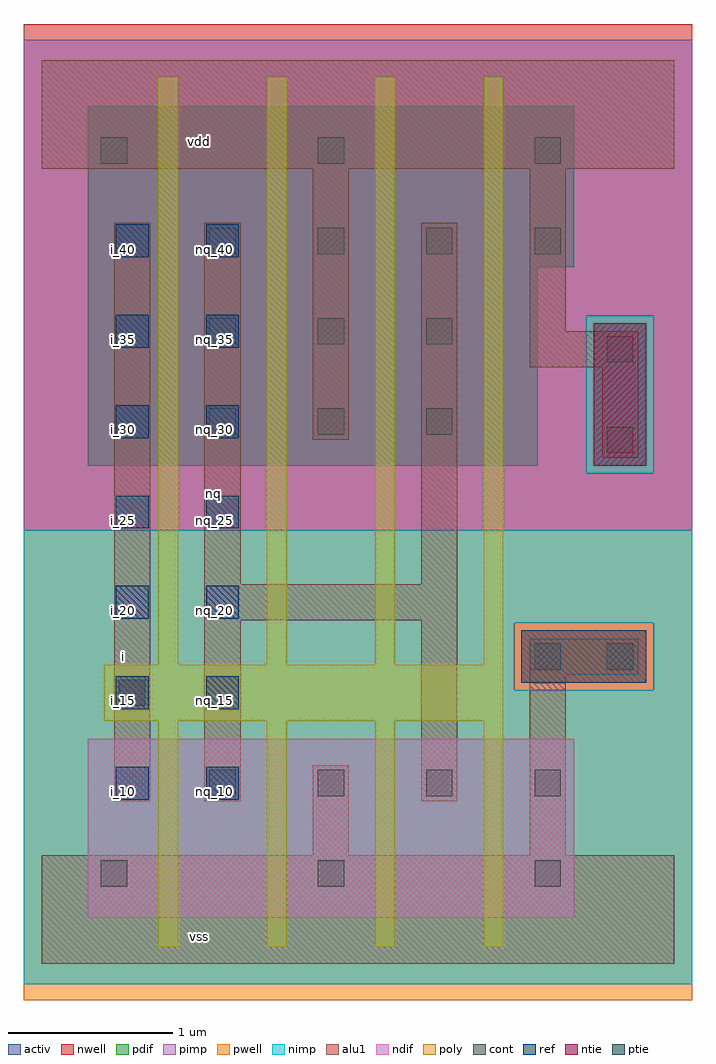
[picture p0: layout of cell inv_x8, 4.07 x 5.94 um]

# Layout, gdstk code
import gdstk
lib = gdstk.Library(unit=1e-6, precision=2.5e-09)
def R(c, l, rs):  # rectangles x0, y0, x1, y1
    for r in rs: c.add(gdstk.rectangle(r[:2], r[2:], *l))
def A(c, l, x, y, w, h, nx, ny, dx, dy):  # array of equal rectangles
    R(c, l, [(x+i*dx, y+j*dy, x+i*dx+w, y+j*dy+h) for i in range(nx) for j in range(ny)])
ndif = (3, 0)
pdif = (4, 0)
ntie = (5, 0)
ptie = (6, 0)
ref = (24, 0)
cont = (25, 0)
pwell = (41, 0)
nwell = (42, 0)
activ = (43, 0)
pimp = (44, 0)
nimp = (45, 0)
poly = (46, 0)
alu1 = (49, 0)

inv_x8 = lib.new_cell('inv_x8')
R(inv_x8, ndif, [(0.28,0.28,3.24,1.37), (0.28,0.28,3.24,1.37)])
R(inv_x8, pdif, [(0.28,3.03,3.02,4.24), (0.28,3.03,3.02,4.24), (0.28,4.24,3.24,5.22), (0.28,4.24,3.24,5.22)])
R(inv_x8, ntie, [(3.36,3.03,3.68,3.9), (3.36,3.03,3.68,3.9)])
R(inv_x8, ptie, [(2.92,1.71,3.68,2.03), (2.92,1.71,3.68,2.03)])
A(inv_x8, ref, 0.45, 1, 0.2, 0.2, 1, 7, 0, 0.55)
A(inv_x8, ref, 1, 1, 0.2, 0.2, 1, 7, 0, 0.55)
A(inv_x8, cont, 0.36, 0.47, 0.16, 0.16, 3, 2, 1.32, 4.4)
A(inv_x8, cont, 1.02, 1.02, 0.16, 0.16, 4, 2, 0.66, 3.3)
A(inv_x8, cont, 1.02, 3.22, 0.16, 0.16, 3, 2, 0.66, 0.55)
R(inv_x8, cont, [(0.47,1.57,0.63,1.73), (3,1.79,3.16,1.95), (3.44,1.79,3.6,1.95), (3.44,3.11,3.6,3.27), (3.44,3.66,3.6,3.82)])
R(inv_x8, pwell, [(-0.11,-0.22,3.96,2.64)])
R(inv_x8, nwell, [(-0.11,2.64,3.96,5.72)])
R(inv_x8, activ, [(0.28,0.28,3.24,1.37), (0.28,0.28,3.24,1.37), (2.92,1.71,3.68,2.03), (2.92,1.71,3.68,2.03), (0.28,3.03,3.02,4.24), (0.28,3.03,3.02,4.24), (3.36,3.03,3.68,3.9), (3.36,3.03,3.68,3.9), (0.28,4.24,3.24,5.22), (0.28,4.24,3.24,5.22)])
R(inv_x8, pimp, [(2.875,1.665,3.725,2.075), (-0.11,2.64,3.96,2.985), (-0.11,2.985,3.315,3.945), (3.725,2.985,3.96,3.945), (-0.11,3.945,3.96,5.625)])
R(inv_x8, nimp, [(-0.11,-0.125,3.96,1.665), (-0.11,1.665,2.875,2.075), (3.725,1.665,3.96,2.075), (-0.11,2.075,3.96,2.64), (3.315,2.985,3.725,3.945)])
A(inv_x8, poly, 0.71, 0.1, 0.12, 1.38, 4, 1, 0.66, 0)
A(inv_x8, poly, 0.71, 1.82, 0.12, 3.58, 4, 1, 0.66, 0)
R(inv_x8, poly, [(0.38,1.48,2.81,1.82)])
R(inv_x8, alu1, [(0,0,3.85,0.66), (1.65,0.66,1.87,1.21), (2.97,0.66,3.19,1.76), (0.44,0.99,0.66,4.51), (0.99,0.99,1.21,2.09), (2.31,0.99,2.53,2.09), (2.97,1.76,3.63,1.98), (0.99,2.09,2.53,2.31), (0.99,2.31,1.21,4.51), (2.31,2.31,2.53,4.51), (3.41,3.08,3.63,3.63), (1.65,3.19,1.87,4.84), (2.97,3.63,3.63,3.85), (2.97,3.85,3.19,4.84), (0,4.84,3.85,5.5)])
inv_x8.add(gdstk.Label('vss', (0.9625,0.165), layer=49, texttype=0))
inv_x8.add(gdstk.Label('nq', (1.045,2.86), layer=49, texttype=0))
inv_x8.add(gdstk.Label('i', (0.495,1.87), layer=49, texttype=0))
inv_x8.add(gdstk.Label('vdd', (0.9625,5.005), layer=49, texttype=0))
inv_x8.add(gdstk.Label('nq_10', (1.05,1.05), layer=24, texttype=0))
inv_x8.add(gdstk.Label('nq_15', (1.05,1.6), layer=24, texttype=0))
inv_x8.add(gdstk.Label('nq_20', (1.05,2.15), layer=24, texttype=0))
inv_x8.add(gdstk.Label('nq_25', (1.05,2.7), layer=24, texttype=0))
inv_x8.add(gdstk.Label('nq_30', (1.05,3.25), layer=24, texttype=0))
inv_x8.add(gdstk.Label('nq_35', (1.05,3.8), layer=24, texttype=0))
inv_x8.add(gdstk.Label('nq_40', (1.05,4.35), layer=24, texttype=0))
inv_x8.add(gdstk.Label('i_10', (0.5,1.05), layer=24, texttype=0))
inv_x8.add(gdstk.Label('i_15', (0.5,1.6), layer=24, texttype=0))
inv_x8.add(gdstk.Label('i_20', (0.5,2.15), layer=24, texttype=0))
inv_x8.add(gdstk.Label('i_25', (0.5,2.7), layer=24, texttype=0))
inv_x8.add(gdstk.Label('i_30', (0.5,3.25), layer=24, texttype=0))
inv_x8.add(gdstk.Label('i_35', (0.5,3.8), layer=24, texttype=0))
inv_x8.add(gdstk.Label('i_40', (0.5,4.35), layer=24, texttype=0))

lib.write_gds('inv_x8.gds')
